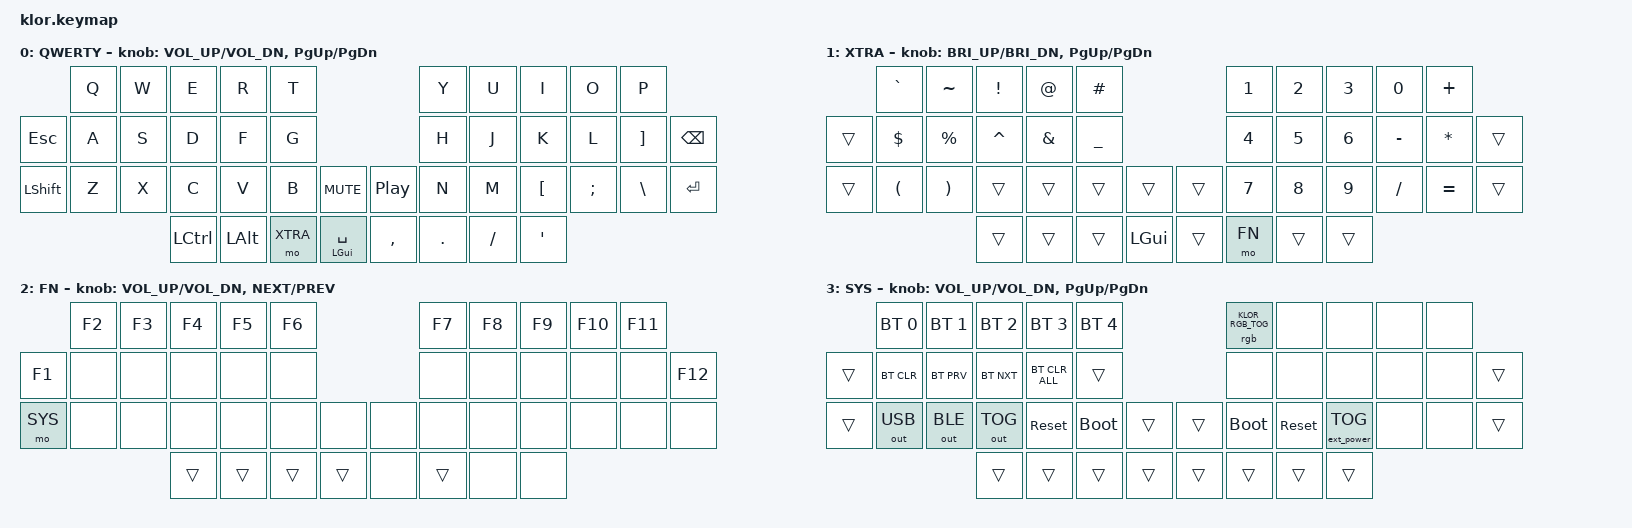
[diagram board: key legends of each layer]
/*
 * KLOR polydactyl (42 keys + 2 encoder push switches = 44 positions)
 * QWERTY base, built for Linux and Windows.
 */

#include <behaviors.dtsi>
#include <dt-bindings/zmk/keys.h>
#include <dt-bindings/zmk/bt.h>
#include <dt-bindings/klor_rgb.h>
#include <dt-bindings/zmk/outputs.h>
#include <dt-bindings/zmk/ext_power.h>

/*
 * Layer indices. These are positional: deleting a layer renumbers everything
 * below it, so keep this block and the order of the nodes in "keymap" in sync.
 */
#define BASE 0
#define XTRA 1
#define FN   2
#define SYS  3

/*
 * POSITION MAP -- the index of every key, in the order bindings are listed.
 * Use these numbers when defining combos, and to find the key you want to
 * change. Positions 28 and 29 are the two encoder push switches.
 *
 *        0   1   2   3   4                    5   6   7   8   9
 *   10  11  12  13  14  15                   16  17  18  19  20  21
 *   22  23  24  25  26  27  [28]      [29]   30  31  32  33  34  35
 *                 36  37  38  39      40  41  42  43
 *
 * The four keys per side on the bottom row are your thumb cluster; 39 and 40
 * are the innermost (strongest) thumb positions.
 */

/ {
    behaviors {
        /*
         * Home-row mods, defined but not used anywhere below. If you want a
         * modifier on an alpha key, swap e.g. "&kp F" for "&hm LSHFT F" --
         * tap for F, hold for shift. Raise tapping-term-ms if it fires while
         * you type; lower it if holds feel sluggish.
         */
        hm: homerow_mods {
            compatible = "zmk,behavior-hold-tap";
            #binding-cells = <2>;
            tapping-term-ms = <200>;
            quick-tap-ms = <175>;
            require-prior-idle-ms = <150>;
            flavor = "tap-preferred";
            bindings = <&kp>, <&kp>;
        };

        /*
         * Space on tap, Super on hold, for position 39. This is what makes
         * Super+<letter> possible: the modifier lives on BASE, so the alphas
         * are still underneath it. Reaching Super via XTRA cannot do that,
         * because XTRA replaces the letters with symbols.
         *
         * Do NOT use the built-in &mt here. Its default flavor is
         * "hold-preferred", which resolves to the HOLD as soon as another key
         * is pressed inside the tapping term -- on the space bar that turns
         * "the quick" into Super+q. The three settings below are what keep it
         * usable on the most-pressed key on the board:
         *
         *   tap-preferred        hold only wins if actually held past the term,
         *                        no matter what else is pressed meanwhile
         *   require-prior-idle   typing within the last 150 ms forces a tap, so
         *                        it cannot misfire mid-word
         *   quick-tap            a re-press within 175 ms is always a tap, so
         *                        repeated spaces still work
         *
         * If Super feels slow to engage, lower tapping-term-ms. If it fires
         * while you type, raise require-prior-idle-ms.
         */
        spc: space_super {
            compatible = "zmk,behavior-hold-tap";
            #binding-cells = <2>;
            tapping-term-ms = <200>;
            quick-tap-ms = <175>;
            require-prior-idle-ms = <150>;
            flavor = "tap-preferred";
            bindings = <&kp>, <&kp>;
        };
    };

    /*
     * The tri-layer that used to produce FN is gone with NAV: a conditional
     * layer needs two layers held at once, and there is only one momentary
     * layer key left. FN is now reached by chaining instead -- hold 38 for
     * XTRA, then hold 41 for FN, then 22 for SYS.
     */

    combos {
        compatible = "zmk,combos";

        /* Q + W together = Tab. Escape has the dedicated key at position 10. */
        combo_tab {
            timeout-ms = <50>;
            key-positions = <0 1>;
            bindings = <&kp TAB>;
        };

    };

    keymap {
        compatible = "zmk,keymap";

/* ------------------------------------------------------------------------
 * BASE -- QWERTY
 *
 *   ┌────┬────┬────┬────┬────┐              ┌────┬────┬────┬────┬────┐
 *   │ Q  │ W  │ E  │ R  │ T  │              │ Y  │ U  │ I  │ O  │ P  │
 * ┌─┴──┬─┴──┬─┴──┬─┴──┬─┴──┬─┴──┐        ┌──┴─┬──┴─┬──┴─┬──┴─┬──┴─┬──┴─┐
 * │ESC │ A  │ S  │ D  │ F  │ G  │        │ H  │ J  │ K  │ L  │ ]  │BSPC│
 * ├────┼────┼────┼────┼────┼────┤ ╭────╮╭────╮ ├────┼────┼────┼────┼────┼────┤
 * │SHFT│ Z  │ X  │ C  │ V  │ B  │ │MUTE││PLAY│ │ N  │ M  │ [  │ ;  │ \  │ENTR│
 * └────┴────┴────┼────┼────┼────┤ ╰────╯╰────╯ ├────┼────┼────┼────┴────┴────┘
 *                │CTRL│ALT │XTRA│ │SPACE│ │ ,  │ .  │ /  │ '  │
 *                └────┴────┴────┘ └─────┘ └────┴────┴────┴────┘
 *
 * The two round keys are the ENCODER PUSH SWITCHES (28 left, 29 right), not
 * regular keys. 29 went back to play/pause when NAV was deleted.
 *
 * The shifted glyphs need no special behavior: the host applies shift to the
 * HID usage code, so &kp BSLH already yields | under shift, and likewise
 * [ -> {   ; -> :   ] -> }   , -> <   . -> >   / -> ?   ' -> "
 *
 * Layers chain rather than combine: hold 38 for XTRA, add 41 for FN, add 22
 * for SYS. There is only one momentary layer key on BASE.
 *
 * There is deliberately only ONE Shift, at position 22 -- the right Shift was
 * given up to put Enter on 35.
 *
 * SUPER is reachable two ways, and the difference matters:
 *
 *   hold 39 alone   -> Super on BASE, so the alphas are still underneath.
 *                      This is the one for Super+T and friends. Tapping 39
 *                      still sends Space; see the spc hold-tap above.
 *   hold 38 then 39 -> Super on XTRA. The numpad is underneath instead, so
 *                      Super+1..0 works but Super+<letter> cannot.
 * ------------------------------------------------------------------------ */
        base_layer {
            display-name = "QWERTY";
            bindings = <
              &kp Q      &kp W      &kp E      &kp R      &kp T                                &kp Y      &kp U      &kp I      &kp O      &kp P
   &kp ESC    &kp A      &kp S      &kp D      &kp F      &kp G                                &kp H      &kp J      &kp K      &kp L      &kp RBKT   &kp BSPC
   &kp LSHFT  &kp Z      &kp X      &kp C      &kp V      &kp B      &kp C_MUTE   &kp C_PP     &kp N      &kp M      &kp LBKT   &kp SEMI   &kp BSLH   &kp RET
/* MODIFIER ZONE -- rearrange these eight thumb keys however you like. */
                                    &kp LCTRL  &kp LALT   &mo XTRA   &spc LGUI SPACE  &kp COMMA  &kp DOT    &kp FSLH   &kp SQT
            >;
            sensor-bindings = <&inc_dec_kp C_VOL_UP C_VOL_DN>, <&inc_dec_kp PG_UP PG_DN>;
        };

/* ------------------------------------------------------------------------
 * XTRA -- hold position 38 (left inner thumb). The scratch layer for whatever
 * you reach for often.
 *
 *   ┌────┬────┬────┬────┬────┐              ┌────┬────┬────┬────┬────┐
 *   │ `  │ ~  │ !  │ @  │ #  │              │ 1  │ 2  │ 3  │ 0  │ +  │
 * ┌─┴──┬─┴──┬─┴──┬─┴──┬─┴──┬─┴──┐        ┌──┴─┬──┴─┬──┴─┬──┴─┬──┴─┬──┴─┐
 * │    │ $  │ %  │ ^  │ &  │ _  │        │ 4  │ 5  │ 6  │ -  │ *  │    │
 * ├────┼────┼────┼────┼────┼────┤ ╭────╮╭────╮ ├────┼────┼────┼────┼────┼────┤
 * │    │ (  │ )  │    │    │    │ │    ││    │ │ 7  │ 8  │ 9  │ /  │ =  │    │
 * └────┴────┴────┼────┼────┼────┤ ╰────╯╰────╯ ├────┼────┼────┼────┴────┴────┘
 *                │    │    │    │ │SUPER│ │    │ FN │    │    │
 *                └────┴────┴────┘ └─────┘ └────┴────┴────┴────┘
 *
 * Blank cells are &trans and fall through to BASE.
 *
 * SUPER on 39 replaced the old XTRA+Space combo. A combo needs both keys
 * inside 50 ms every time, which is awkward for something you hold through a
 * chord; a plain &kp LGUI here has no timing constraint.
 *
 * Note what it can and cannot chord with. Holding 38 to reach Super means the
 * other key comes from XTRA too, so Super+1 works -- the numpad sends a real
 * digit -- but Super+T does not, because XTRA has no T; that position sends #.
 * If Super+letter is needed, Super has to live on BASE instead, most cheaply
 * as a hold-tap such as &mt LGUI SPACE on position 39.
 *
 * The right hand is a calculator block: 1-9 as a numpad on the three inner
 * columns reading top to bottom, 0 on the ring finger, and the operators
 * + - * / = filling the ring and pinky columns beside them.
 *
 * / is deliberately duplicated here -- BASE already has it on 42 -- so that
 * the whole calculator is reachable without leaving the layer.
 *
 * The left hand holds the symbols that the operator column did not take,
 * packed from position 0 with no gaps:
 *     ` ~ ! @ # $ % ^ & _ ( )
 * That is 12 symbols in 15 slots, so 25, 26 and 27 are free at the end.
 *
 * This is QWERTY number-row order except at the tail: ( and ) were pulled
 * together onto 23 and 24 so the pair rolls across two adjacent fingers,
 * which pushed _ up into the slot they vacated at 15.
 *
 * ENCODERS: the left one is screen brightness here -- it moved off FN, where
 * it needed three keys held to reach. The right one stays on page up/down.
 *
 * Anything BASE can already produce is left &trans rather than duplicated:
 *     [ ] { }   BASE 32 and 20, plain and shifted
 *     \ |       BASE 34, plain and shifted
 *     :         Shift + BASE 33
 *     "         Shift + BASE 43
 *
 * 22 is transparent now, so BASE's Shift falls through and can be held on
 * this layer. The shifted symbols are still bound directly because one key
 * beats a two-key chord, not because Shift is unavailable.
 *
 * Position 41 is the door to FN, which is the door to SYS. Keep those two
 * bound or the bootloader and Bluetooth keys become unreachable.
 * ------------------------------------------------------------------------ */
        xtra_layer {
            display-name = "XTRA";
            bindings = <
              &kp GRAVE  &kp TILDE  &kp EXCL   &kp AT     &kp HASH                             &kp N1     &kp N2     &kp N3     &kp N0     &kp PLUS
   &trans     &kp DLLR   &kp PRCNT  &kp CARET  &kp AMPS   &kp UNDER                            &kp N4     &kp N5     &kp N6     &kp MINUS  &kp ASTRK  &trans
   &trans     &kp LPAR   &kp RPAR   &trans     &trans     &trans     &trans       &trans       &kp N7     &kp N8     &kp N9     &kp FSLH   &kp EQUAL  &trans
                                    &trans     &trans     &trans     &kp LGUI     &trans       &mo FN     &trans     &trans
            >;
            sensor-bindings = <&inc_dec_kp C_BRI_UP C_BRI_DN>, <&inc_dec_kp PG_UP PG_DN>;
        };

/* ------------------------------------------------------------------------
 * FN -- from XTRA, hold position 41. So: hold 38, then 41.
 *
 *   ┌────┬────┬────┬────┬────┐              ┌────┬────┬────┬────┬────┐
 *   │ F2 │ F3 │ F4 │ F5 │ F6 │              │ F7 │ F8 │ F9 │F10 │F11 │
 * ┌─┴──┬─┴──┬─┴──┬─┴──┬─┴──┬─┴──┐        ┌──┴─┬──┴─┬──┴─┬──┴─┬──┴─┬──┴─┐
 * │ F1 │    │    │    │    │    │        │    │    │    │    │    │F12 │
 * ├────┼────┼────┼────┼────┼────┤ ╭────╮╭────╮ ├────┼────┼────┼────┼────┼────┤
 * │SYS │    │    │    │    │    │ │    ││    │ │    │    │    │    │    │    │
 * └────┴────┴────┼────┼────┼────┤ ╰────╯╰────╯ ├────┼────┼────┼────┴────┴────┘
 *                │CTRL│ALT │XTRA│ │SUPER│ │    │ FN │    │    │
 *                └────┴────┴────┘ └─────┘ └────┴────┴────┴────┘
 *
 * F2-F11 run straight across the top row in order; F1 and F12 sit on the
 * outer columns of the row below, bracketing that run.
 *
 * EVERYTHING ELSE IS &none, AND THAT IS THE POINT. These used to be &trans,
 * which on this layer does NOT mean dead: FN is only ever reached THROUGH
 * XTRA, so XTRA stays held underneath and a transparent key falls through to
 * it. The right hand quietly read
 *
 *      4   5   6   -   *          (from XTRA)
 *      7   8   9   /   =          (from XTRA)
 *
 * so F-keys and a numpad were live together. &none stops that, leaving the
 * space clear for the home-automation controls going here later.
 *
 * FIVE POSITIONS ARE STILL &trans, deliberately:
 *
 *   36, 37   Ctrl and Alt. Making these dead would silently break Alt+F4 and
 *            Ctrl+F5, which is most of the reason to be on an F-key layer.
 *   39       Super, from XTRA. Same argument.
 *   38, 41   the keys being held to be on this layer at all. Their binding
 *            here is never evaluated -- the press resolved on the layer below
 *            -- so this only affects what the OLED draws, and showing the
 *            held layer keys is more useful than showing blanks.
 *
 * ENCODERS: brightness moved off the left encoder to XTRA, so the left one
 * is volume here like everywhere else. The right one is track next/previous,
 * which is now the only media transport left on this layer.
 *
 * Position 22 is the door to SYS, and the only one -- reaching SYS means
 * holding 38, 41 and 22 together.
 * ------------------------------------------------------------------------ */
        fn_layer {
            display-name = "FN";
            bindings = <
              &kp F2     &kp F3     &kp F4     &kp F5     &kp F6                               &kp F7     &kp F8     &kp F9     &kp F10    &kp F11
   &kp F1     &none      &none      &none      &none      &none                                &none      &none      &none      &none      &none      &kp F12
   &mo SYS    &none      &none      &none      &none      &none      &none        &none        &none      &none      &none      &none      &none      &none
                                    &trans     &trans     &trans     &trans       &none        &trans     &none      &none
            >;
            sensor-bindings = <&inc_dec_kp C_VOL_UP C_VOL_DN>, <&inc_dec_kp C_NEXT C_PREV>;
        };

/* ------------------------------------------------------------------------
 * SYS -- from FN, hold position 22. Bluetooth profiles on the left, the
 * underglow switch on the right, bootloader and reset on the bottom row of
 * both hands.
 *
 * BT_SEL 0-4 pick a pairing slot: pick an unused one, pair the new machine,
 * and switch between machines by coming back here. BT_CLR wipes the current
 * slot when a pairing goes bad.
 *
 * THE OLD RGB BLOCK IS GONE. Twelve &rgb_ug keys sat here -- effects, hue,
 * saturation, brightness, speed -- and every one of them was inert, because
 * ZMK_RGB_UNDERGLOW is off so src/klor_rgb_reactive.c can own the strip. They
 * still built, since ZMK declares the behavior unconditionally and gates only
 * the driver, so nothing ever complained. Position 5 now carries &rgb, which
 * switches the reactive underglow on and off and is the only control the
 * white/10%/60% scheme has to offer. The rest are &none rather than &trans on
 * purpose: this layer holds bootloader and reset, and a stray fall-through to
 * XTRA's numpad is not what you want under fingers hunting for those.
 *
 *   ,----------------------------------.        ,----------------------------------.
 *   | BT0 | BT1 | BT2 | BT3 | BT4 |     |        | RGB |     |     |     |     |     |
 *   |-----+-----+-----+-----+-----+-----|        |-----+-----+-----+-----+-----+-----|
 *   |     | CLR | PRV | NXT |CLRAL|     |        |     |     |     |     |     |     |
 *   |-----+-----+-----+-----+-----+-----|        |-----+-----+-----+-----+-----+-----|
 *   |     | USB | BLE | TOG | RST | BOOT|        | BOOT| RST | EPWR|     |     |     |
 *   `----------------------------------'        `----------------------------------'
 *
 * BT4 and the left BOOT sit on the dead P0.09 column, so they are unreachable
 * until the controller is repaired. Left deliberately in place -- the pins are
 * being replaced, and moving them now would only have to be undone.
 * ------------------------------------------------------------------------ */
        sys_layer {
            display-name = "SYS";
            bindings = <
              &bt BT_SEL 0 &bt BT_SEL 1 &bt BT_SEL 2 &bt BT_SEL 3 &bt BT_SEL 4                 &rgb KLOR_RGB_TOG &none      &none      &none      &none
   &trans     &bt BT_CLR &bt BT_PRV &bt BT_NXT &bt BT_CLR_ALL &trans                           &none      &none      &none      &none      &none      &trans
   &trans     &out OUT_USB &out OUT_BLE &out OUT_TOG &sys_reset &bootloader &trans   &trans     &bootloader &sys_reset &ext_power EP_TOG &none      &none      &trans
                                    &trans     &trans     &trans     &trans       &trans       &trans     &trans     &trans
            >;
            sensor-bindings = <&inc_dec_kp C_VOL_UP C_VOL_DN>, <&inc_dec_kp PG_UP PG_DN>;
        };
    };
};
